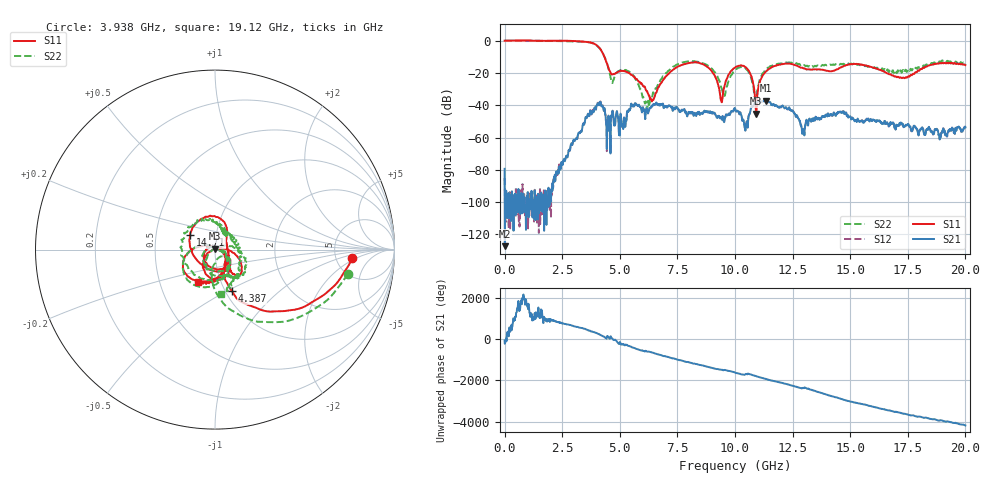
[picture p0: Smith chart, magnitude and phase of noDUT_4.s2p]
#  HZ  S  RI  R  50.00
! Rohde & Schwarz Vector Network Analyzer
! Rohde-Schwarz,ZNB20-2Port,1311601062102128,3.60
! Created: UTC 4/29/2024, 3:49:58 PM
! freq[Hz]  re:S11  im:S11  re:S21  im:S21  re:S12  im:S12  re:S22  im:S22
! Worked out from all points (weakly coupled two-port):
!   2007 points, 100 kHz to 20 GHz, reference 50 ohm
!   highest |S21| = -37.09 dB at 11.34 GHz (marker M1); lowest = -127.3 dB at 10.07 MHz (marker M2)
!   lowest |S11| = -45.3 dB at 10.93 GHz (marker M3), VSWR 1.01, Z = 50.1 + j0.528 ohm
!   |S11| at or under -10 dB: 4.333 GHz to end of sweep
!   |S22| runs from -42.8 to 0.1 dB; largest |S21 - S12| = 0.00069
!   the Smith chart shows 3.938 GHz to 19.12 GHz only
!   S11 on the Smith chart (normalised r, x): 3.938 GHz: 7.19, -1.60; 4.387 GHz: 1.07, -0.53; 14.71 GHz: 0.75, +0.13; 19.12 GHz: 0.78, -0.29
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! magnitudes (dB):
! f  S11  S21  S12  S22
! 100 kHz  0.0  -79.4  -85.1  0.1
! 10.07 MHz  0.0  -127.3  -93.5  0.0
! 2.343 GHz  0.0  -82.3  -79.6  -0.3
! 3.34 GHz  -0.6  -56.4  -56.2  -0.6
! 3.938 GHz  -2.3  -41.4  -41.0  -2.5
! 4.387 GHz  -12.1  -47.5  -47.4  -11.8
! 4.666 GHz  -20.9  -44.6  -44.6  -26.0
! 5.533 GHz  -21.4  -40.2  -40.1  -21.0
! 6.182 GHz  -31.3  -42.5  -42.6  -42.8
! 6.67 GHz  -28.9  -39.5  -39.4  -26.6
! 8.345 GHz  -13.5  -44.9  -45.0  -13.0
! 9.422 GHz  -38.2  -48.6  -48.5  -29.5
! 10 GHz  -16.7  -42.1  -42.1  -18.4
! 10.47 GHz  -16.5  -54.2  -54.3  -17.3
! 10.93 GHz  -45.3  -38.5  -38.5  -38.0
! 11.34 GHz  -19.2  -37.1  -37.1  -18.0
! 12.94 GHz  -16.9  -56.1  -56.0  -15.5
! 13.34 GHz  -17.9  -48.4  -48.4  -15.8
! 14.71 GHz  -15.9  -43.8  -43.6  -14.3
! 16.67 GHz  -20.7  -53.0  -53.1  -19.4
! 19.12 GHz  -13.9  -58.1  -57.9  -12.1
! 20 GHz  -15.2  -53.7  -53.9  -14.4
